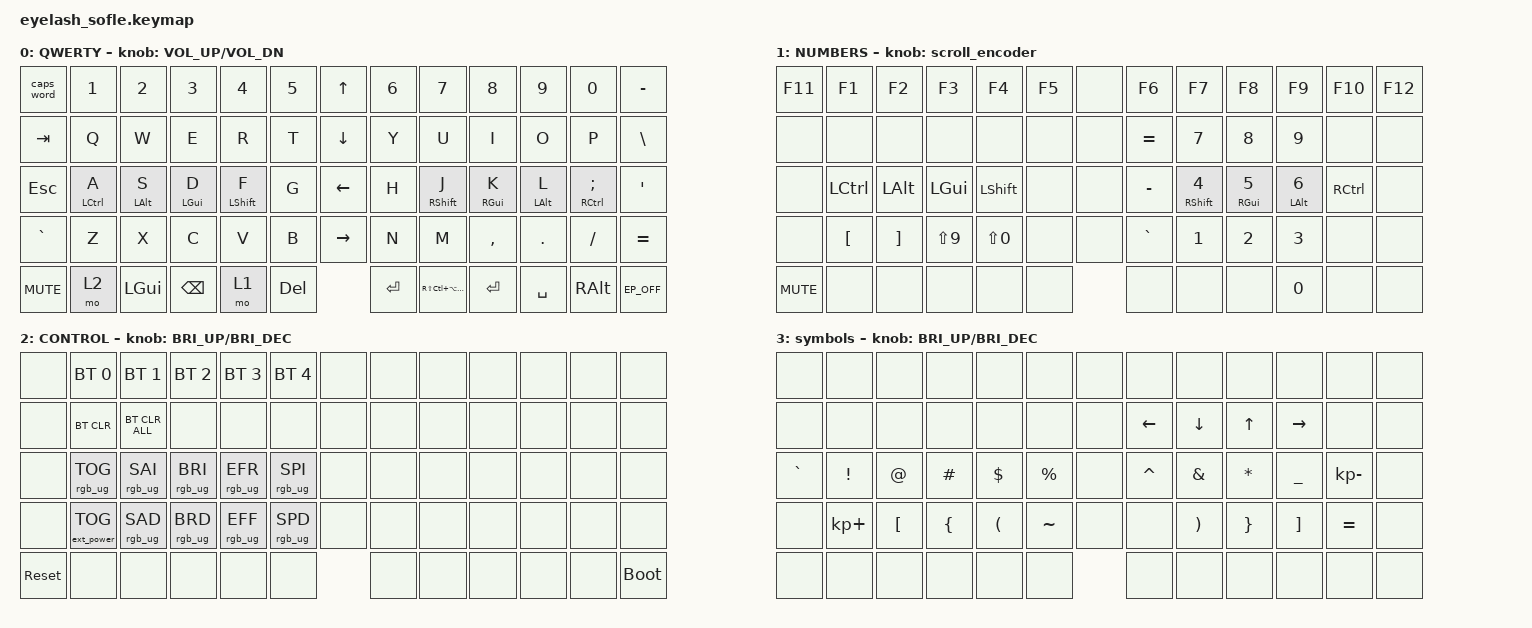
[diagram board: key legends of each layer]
#define ZMK_POINTING_DEFAULT_MOVE_VAL 1200  // 600
#define ZMK_POINTING_DEFAULT_SCRL_VAL 25   // 10
#define COMBO(NAME, BINDINGS, KEYPOS) \
  combo_##NAME { \
    timeout-ms = <38>; \
    bindings = <BINDINGS>; \
    key-positions = <KEYPOS>; \
    layers = <0>; \
  };

#include <input/processors.dtsi>
#include <zephyr/dt-bindings/input/input-event-codes.h>
#include <behaviors.dtsi>
#include <dt-bindings/zmk/bt.h>
#include <dt-bindings/zmk/ext_power.h>
#include <dt-bindings/zmk/keys.h>
#include <dt-bindings/zmk/pointing.h>
#include <dt-bindings/zmk/rgb.h>
#include <dt-bindings/zmk/outputs.h>

&mmv_input_listener { input-processors = <&zip_xy_scaler 2 1>; };

&msc_input_listener { input-processors = <&zip_scroll_scaler 2 1>; };

&msc {
    acceleration-exponent = <1>;      // 0
    time-to-max-speed-ms = <100>;       // 300
    delay-ms = <0>;                   // 0
};

&mmv {
    time-to-max-speed-ms = <500>;
    acceleration-exponent = <1>;
    trigger-period-ms = <16>;
};

/ {
    scroll_encoder: scroll_encoder {
        compatible = "zmk,behavior-sensor-rotate";
        #sensor-binding-cells = <0>;
        bindings = <&msc SCRL_DOWN>, <&msc SCRL_UP>;

        tap-ms = <100>;
    };

   behaviors {
       mt: mod_tap {
           flavor = "balanced";
           tapping-term-ms = <185>;
       };
   };

   macros {
       macro_arrow: macro_arrow {
           compatible = "zmk,behavior-macro";
           #binding-cells = <0>;
           label = "ARROW_MACRO";
           bindings = <&macro_tap &kp MINUS &kp GREATER_THAN>;
       };
   };

   combos {
     compatible = "zmk,combos";

     COMBO(LEFT_BRACKET, &kp LEFT_BRACKET, 16 17)
     COMBO(LEFT_PARENTHESIS, &kp LPAR, 29 30)
     COMBO(LEFT_BRACE, &kp LBRC, 42 43)
     COMBO(RIGHT_BRACKET, &kp RIGHT_BRACKET, 21 22)
     COMBO(RIGHT_PARENTHESIS, &kp RPAR, 34 35)
     COMBO(RIGHT_BRACE, &kp RBRC, 47 48)
     COMBO(CAPS_WORD, &caps_word , 30 34)
     COMBO(ARROW, &macro_arrow , 29 35)
   };

    keymap {
        compatible = "zmk,keymap";

        layer0 {
            bindings = <
// ╭──────────0────────────────┬───────────────1──────────────┬──────────2─────────────────┬───────────3───────────────┬───────────4───────────────┬───────────5──────────────┬─────────────────────────────6──────────────────────────────────────┬──────────7────────────┬──────────────8────────────────┬────────────9─────────────┬──────────10──────────────┬─────────────────11─────────────────────┬──────────12────────────────╮
        &caps_word                  &kp NUMBER_1                     &kp NUMBER_2                 &kp NUMBER_3              &kp NUMBER_4                  &kp NUMBER_5                                 &kp UP_ARROW                                       &kp NUMBER_6            &kp NUMBER_7                  &kp NUMBER_8                  &kp NUMBER_9              &kp NUMBER_0                             &kp MINUS
// ├──────────13───────────────┼───────────────14─────────────┼──────────15────────────────┼───────────16──────────────┼───────────17──────────────┼───────────18─────────────┼─────────────────────────────19─────────────────────────────────────┼──────────20───────────┼──────────────21───────────────┼────────────22────────────┼──────────23──────────────┼─────────────────24─────────────────────┼──────────25────────────────┤
        &kp TAB                     &kp Q                            &kp W                        &kp E                     &kp R                         &kp T                                        &kp DOWN_ARROW                                     &kp Y                   &kp U                         &kp I                         &kp O                     &kp P                                    &kp BSLH
// ├──────────26───────────────┼───────────────27─────────────┼──────────28────────────────┼───────────29──────────────┼───────────30──────────────┼───────────31─────────────┼─────────────────────────────32─────────────────────────────────────┼──────────33───────────┼──────────────34───────────────┼────────────35────────────┼──────────36──────────────┼─────────────────37─────────────────────┼──────────38────────────────┤
        &kp ESC                     &mt LEFT_CONTROL A               &mt LEFT_ALT S               &mt LEFT_GUI D            &mt LEFT_SHIFT F              &kp G                                        &kp LEFT_ARROW                                     &kp H                   &mt RIGHT_SHIFT J             &mt RIGHT_GUI K               &mt LEFT_ALT L            &mt RIGHT_CONTROL SEMICOLON              &kp APOS
// ├──────────39───────────────┼───────────────40─────────────┼──────────41────────────────┼───────────42──────────────┼───────────43──────────────┼───────────44─────────────┼─────────────────────────────45─────────────────────────────────────┼──────────46───────────┼──────────────47───────────────┼────────────48────────────┼──────────49──────────────┼─────────────────50─────────────────────┼──────────51────────────────┤
        &kp GRAVE                   &kp Z                            &kp X                        &kp C                     &kp V                         &kp B                                        &kp RIGHT_ARROW                                    &kp N                   &kp M                         &kp COMMA                     &kp DOT                   &kp FSLH                                 &kp EQUAL
// ├──────────52───────────────┼──────────────────────────────┼──────────53────────────────┼───────────54──────────────┼───────────55──────────────┼───────────56─────────────┼────────57─────────┼─────────58─────────────┼────────59─────────────┼──────────60───────────┼──────────────61───────────────┼────────────62────────────┼──────────63──────────────┼────────────────────────────────────────┴────────────────────────────╯
        &kp C_MUTE                                                   &mo 2                        &kp LEFT_GUI              &kp BACKSPACE                 &mo 1                    &kp DELETE          &kp ENTER             &kp RS(LC(LA(LGUI)))         &kp ENTER               &kp SPACE                    &kp RIGHT_ALT                 &kp EP_OFF
// ╰───────────────────────────╯                              ╰────────────────────────────┴───────────────────────────┴───────────────────────────┴──────────────────────────┴───────────────────┴────────────────────────┴───────────────────────┴───────────────────────┴───────────────────────────────┴──────────────────────────┴──────────────────────────╯
            >;

            sensor-bindings = <&inc_dec_kp C_VOLUME_UP C_VOL_DN>;
            display-name = "QWERTY";
        };

        layer_1 {
            bindings = <
// ╭───────────────────────────┬──────────────────────────────┬────────────────────────────┬───────────────────────────┬───────────────────────────┬──────────────────────────┬────────────────────────────────────────────────────────────────────┬───────────────────────┬───────────────────────────────┬──────────────────────────┬──────────────────────────┬────────────────────────────────────────┬────────────────────────────╮
          &kp F11                     &kp F1                          &kp F2                        &kp F3                    &kp F4                        &kp F5                                       &none                                             &kp F6                     &kp F7                        &kp F8                       &kp F9                        &kp F10                               &kp F12
// ├───────────────────────────┼──────────────────────────────┼────────────────────────────┼───────────────────────────┼───────────────────────────┼──────────────────────────┼────────────────────────────────────────────────────────────────────┼───────────────────────┼───────────────────────────────┼──────────────────────────┼──────────────────────────┼────────────────────────────────────────┼────────────────────────────┤
          &none                       &none                            &none                        &none                     &none                         &none                                        &none                                             &kp EQUAL                  &kp N7                        &kp N8                       &kp N9                        &none                                 &none
// ├───────────────────────────┼──────────────────────────────┼────────────────────────────┼───────────────────────────┼───────────────────────────┼──────────────────────────┼────────────────────────────────────────────────────────────────────┼───────────────────────┼───────────────────────────────┼──────────────────────────┼──────────────────────────┼────────────────────────────────────────┼────────────────────────────┤
          &none                       &kp LEFT_CONTROL                &kp LEFT_ALT                  &kp LEFT_GUI              &kp LEFT_SHIFT                &none                                        &none                                             &kp MINUS                  &mt RIGHT_SHIFT N4            &mt RIGHT_GUI N5             &mt LEFT_ALT N6               &kp RIGHT_CONTROL                     &none
// ├───────────────────────────┼──────────────────────────────┼────────────────────────────┼───────────────────────────┼───────────────────────────┼──────────────────────────┼────────────────────────────────────────────────────────────────────┼───────────────────────┼───────────────────────────────┼──────────────────────────┼──────────────────────────┼────────────────────────────────────────┼────────────────────────────┤
          &none                       &kp LEFT_BRACKET                &kp RIGHT_BRACKET             &kp LS(N9)                &kp LS(N0)                    &none                                        &none                                             &kp GRAVE                  &kp N1                        &kp N2                       &kp N3                        &none                                 &none
// ├───────────────────────────┼──────────────────────────────┼────────────────────────────┼───────────────────────────┼───────────────────────────┼──────────────────────────┼───────────────────┼────────────────────────┼───────────────────────┼───────────────────────┼───────────────────────────────┼──────────────────────────┼──────────────────────────┼────────────────────────────────────────┴────────────────────────────╯
        &kp C_MUTE                                                    &none                         &none                     &none                         &none                     &none              &none                    &none                    &none                      &kp N0                        &none                        &none
// ╰───────────────────────────╯                              ╰────────────────────────────┴───────────────────────────┴───────────────────────────┴──────────────────────────┴───────────────────┴────────────────────────┴───────────────────────┴───────────────────────┴───────────────────────────────┴──────────────────────────┴──────────────────────────╯
            >;

            display-name = "NUMBERS";
            sensor-bindings = <&scroll_encoder>;
        };

        layer_2 {
            bindings = <
// ╭───────────────────────────┬──────────────────────────────┬────────────────────────────┬───────────────────────────┬───────────────────────────┬──────────────────────────┬────────────────────────────────────────────────────────────────────┬───────────────────────┬───────────────────────────────┬──────────────────────────┬──────────────────────────┬────────────────────────────────────────┬────────────────────────────╮
          &none                     &bt BT_SEL 0                     &bt BT_SEL 1                 &bt BT_SEL 2              &bt BT_SEL 3                  &bt BT_SEL 4                                 &none                                              &none                   &none                         &none                         &none                         &none                                   &none
// ├───────────────────────────┼──────────────────────────────┼────────────────────────────┼───────────────────────────┼───────────────────────────┼──────────────────────────┼────────────────────────────────────────────────────────────────────┼───────────────────────┼───────────────────────────────┼──────────────────────────┼──────────────────────────┼────────────────────────────────────────┼────────────────────────────┤
          &none                     &bt BT_CLR                       &bt BT_CLR_ALL               &none                     &none                         &none                                        &none                                              &none                   &none                         &none                         &none                         &none                                   &none
// ├───────────────────────────┼──────────────────────────────┼────────────────────────────┼───────────────────────────┼───────────────────────────┼──────────────────────────┼────────────────────────────────────────────────────────────────────┼───────────────────────┼───────────────────────────────┼──────────────────────────┼──────────────────────────┼────────────────────────────────────────┼────────────────────────────┤
          &none                     &rgb_ug RGB_TOG                  &rgb_ug RGB_SAI              &rgb_ug RGB_BRI           &rgb_ug RGB_EFR               &rgb_ug RGB_SPI                              &none                                              &none                   &none                         &none                         &none                         &none                                   &none
// ├───────────────────────────┼──────────────────────────────┼────────────────────────────┼───────────────────────────┼───────────────────────────┼──────────────────────────┼────────────────────────────────────────────────────────────────────┼───────────────────────┼───────────────────────────────┼──────────────────────────┼──────────────────────────┼────────────────────────────────────────┼────────────────────────────┤
          &none                     &ext_power EP_TOG                &rgb_ug RGB_SAD              &rgb_ug RGB_BRD           &rgb_ug RGB_EFF               &rgb_ug RGB_SPD                              &none                                              &none                   &none                         &none                         &none                         &none                                   &none
// ├───────────────────────────┼──────────────────────────────┼────────────────────────────┼───────────────────────────┼───────────────────────────┼──────────────────────────┼───────────────────┼────────────────────────┼───────────────────────┼───────────────────────┼───────────────────────────────┼──────────────────────────┼──────────────────────────┼────────────────────────────────────────┴────────────────────────────╯
          &sys_reset                                                 &none                        &none                     &none                         &none                     &none              &none                    &none                     &none                   &none                         &none                         &bootloader
// ╰───────────────────────────╯                              ╰────────────────────────────┴───────────────────────────┴───────────────────────────┴──────────────────────────┴───────────────────┴────────────────────────┴───────────────────────┴───────────────────────┴───────────────────────────────┴──────────────────────────┴──────────────────────────╯
            >;

            sensor-bindings = <&inc_dec_kp C_BRI_UP C_BRI_DEC>;
            display-name = "CONTROL";
        };

        layer_3 {
            bindings = <
// ╭───────────────────────────┬──────────────────────────────┬────────────────────────────┬───────────────────────────┬───────────────────────────┬──────────────────────────┬────────────────────────────────────────────────────────────────────┬───────────────────────┬───────────────────────────────┬──────────────────────────┬──────────────────────────┬────────────────────────────────────────┬────────────────────────────╮
          &none                     &none                            &none                        &none                     &none                         &none                                        &none                                              &none                   &none                         &none                         &none                     &none                                    &none
// ├───────────────────────────┼──────────────────────────────┼────────────────────────────┼───────────────────────────┼───────────────────────────┼──────────────────────────┼────────────────────────────────────────────────────────────────────┼───────────────────────┼───────────────────────────────┼──────────────────────────┼──────────────────────────┼────────────────────────────────────────┼────────────────────────────┤
          &none                     &none                            &none                        &none                     &none                         &none                                        &none                                              &kp LEFT                &kp DOWN                      &kp UP                        &kp RIGHT                 &none                                    &none
// ├───────────────────────────┼──────────────────────────────┼────────────────────────────┼───────────────────────────┼───────────────────────────┼──────────────────────────┼────────────────────────────────────────────────────────────────────┼───────────────────────┼───────────────────────────────┼──────────────────────────┼──────────────────────────┼────────────────────────────────────────┼────────────────────────────┤
          &kp GRAVE                 &kp EXCL                         &kp AT                       &kp HASH                  &kp DLLR                      &kp PRCNT                                    &none                                              &kp CARET               &kp AMPS                      &kp STAR                      &kp UNDER                 &kp KP_MINUS                             &none
// ├───────────────────────────┼──────────────────────────────┼────────────────────────────┼───────────────────────────┼───────────────────────────┼──────────────────────────┼────────────────────────────────────────────────────────────────────┼───────────────────────┼───────────────────────────────┼──────────────────────────┼──────────────────────────┼────────────────────────────────────────┼────────────────────────────┤
          &none                     &kp KP_PLUS                      &kp LBKT                     &kp LBRC                  &kp LPAR                     &kp TILDE                                     &none                                              &none                  &kp RPAR                       &kp RBRC                      &kp RBKT                  &kp EQUAL                                &none
// ├───────────────────────────┼──────────────────────────────┼────────────────────────────┼───────────────────────────┼───────────────────────────┼──────────────────────────┼───────────────────┼────────────────────────┼───────────────────────┼───────────────────────┼───────────────────────────────┼──────────────────────────┼──────────────────────────┼────────────────────────────────────────┴────────────────────────────╯
          &none                                                      &none                        &none                     &none                         &none                     &none              &none                    &none                     &none                   &none                         &none                         &none
// ╰───────────────────────────╯                              ╰────────────────────────────┴───────────────────────────┴───────────────────────────┴──────────────────────────┴───────────────────┴────────────────────────┴───────────────────────┴───────────────────────┴───────────────────────────────┴──────────────────────────┴──────────────────────────╯
            >;

            sensor-bindings = <&inc_dec_kp C_BRI_UP C_BRI_DEC>;
            display-name = "symbols";
        };
    };
};
